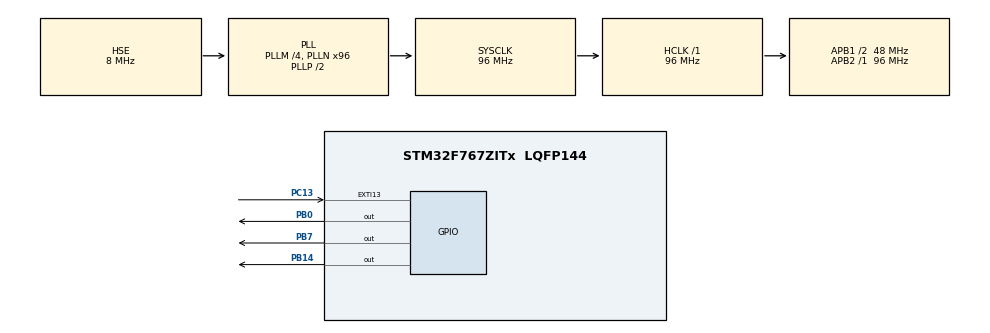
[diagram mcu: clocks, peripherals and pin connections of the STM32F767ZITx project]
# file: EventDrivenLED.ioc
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Mcu.Family=STM32F7
Mcu.Name=STM32F767ZITx
Mcu.Package=LQFP144
NVIC.EXTI15_10_IRQn=true\:0\:0\:false\:false\:true\:true\:true\:true
NVIC.PVD_IRQn=true\:0\:0\:false\:false\:true\:true\:true\:true
NVIC.PriorityGroup=NVIC_PRIORITYGROUP_4
NVIC.TIM2_IRQn=true\:0\:0\:false\:false\:true\:true\:true\:true
PB0.Signal=GPIO_Output
PB14.Signal=GPIO_Output
PB7.Signal=GPIO_Output
PC13.Signal=GPXTI13
PH0/OSC_IN.Mode=HSE-External-Oscillator
PH0/OSC_IN.Signal=RCC_OSC_IN
PH1/OSC_OUT.Mode=HSE-External-Oscillator
PH1/OSC_OUT.Signal=RCC_OSC_OUT
ProjectManager.HeapSize=0x200
ProjectManager.StackSize=0x400
ProjectManager.TargetToolchain=STM32CubeIDE
RCC.48MHZClocksFreq_Value=24000000
RCC.AHBFreq_Value=96000000
RCC.APB1CLKDivider=RCC_HCLK_DIV2
RCC.APB1Freq_Value=48000000
RCC.APB1TimFreq_Value=96000000
RCC.APB2Freq_Value=96000000
RCC.APB2TimFreq_Value=96000000
RCC.CortexFreq_Value=96000000
RCC.HCLKFreq_Value=96000000
RCC.HSE_VALUE=8000000
RCC.HSI_VALUE=16000000
RCC.PLLM=4
RCC.PLLMUL=RCC_PLL_MUL9
RCC.PLLN=96
RCC.PLLQ=4
RCC.PLLSourceVirtual=RCC_PLLSOURCE_HSE
RCC.PRESCALERUSB=RCC_USBCLKSOURCE_PLL_DIV1_5
RCC.SYSCLKFreq_VALUE=96000000
RCC.SYSCLKSource=RCC_SYSCLKSOURCE_PLLCLK
RCC.SYSCLKSourceVirtual=RCC_SYSCLKSOURCE_PLLCLK
RCC.USBFreq_Value=48000000
RCC.VCOOutputFreq_Value=192000000
TIM2.CounterMode=TIM_COUNTERMODE_UP
TIM2.Period=1000 - 1
TIM2.Prescaler=16000 - 1
VP_TIM2_VS_ClockSourceINT.Mode=Internal
board=NUCLEO-F767ZI

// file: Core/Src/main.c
/* USER CODE BEGIN Header */
/**
  ******************************************************************************
  * @file           : main.c
  * @brief          : Main program body
  ******************************************************************************
  * @attention
  *
  * Copyright (c) 2026 STMicroelectronics.
  * All rights reserved.
  *
  * This software is licensed under terms that can be found in the LICENSE file
  * in the root directory of this software component.
  * If no LICENSE file comes with this software, it is provided AS-IS.
  *
  ******************************************************************************
  */
/* USER CODE END Header */
#include "main.h"

TIM_HandleTypeDef htim2;

/* USER CODE BEGIN PV */
volatile uint8_t current_led = 0; // 0=Green, 1=Blue, 2=Red
/* USER CODE END PV */

void SystemClock_Config(void);
static void MX_GPIO_Init(void);
static void MX_TIM2_Init(void);

int main(void)
{

  /* MCU Configuration--------------------------------------------------------*/

  /* Reset of all peripherals, Initializes the Flash interface and the Systick. */
  HAL_Init();

  /* Configure the system clock */
  SystemClock_Config();

  /* Initialize all configured peripherals */
  MX_GPIO_Init();
  MX_TIM2_Init();
  /* USER CODE BEGIN 2 */
  HAL_TIM_Base_Start_IT(&htim2);
  /* USER CODE END 2 */

  /* Infinite loop */
  while (1)
  {

  }
}

void SystemClock_Config(void)
{
  RCC_OscInitTypeDef RCC_OscInitStruct = {0};
  RCC_ClkInitTypeDef RCC_ClkInitStruct = {0};

  /** Configure the main internal regulator output voltage
  */
  __HAL_RCC_PWR_CLK_ENABLE();
  __HAL_PWR_VOLTAGESCALING_CONFIG(PWR_REGULATOR_VOLTAGE_SCALE3);

  /** Initializes the RCC Oscillators according to the specified parameters
  * in the RCC_OscInitTypeDef structure.
  */
  RCC_OscInitStruct.OscillatorType = RCC_OSCILLATORTYPE_HSE;
  RCC_OscInitStruct.HSEState = RCC_HSE_ON;
  RCC_OscInitStruct.PLL.PLLState = RCC_PLL_ON;
  RCC_OscInitStruct.PLL.PLLSource = RCC_PLLSOURCE_HSE;
  RCC_OscInitStruct.PLL.PLLM = 4;
  RCC_OscInitStruct.PLL.PLLN = 96;
  RCC_OscInitStruct.PLL.PLLP = RCC_PLLP_DIV2;
  RCC_OscInitStruct.PLL.PLLQ = 4;
  RCC_OscInitStruct.PLL.PLLR = 2;
  if (HAL_RCC_OscConfig(&RCC_OscInitStruct) != HAL_OK)
  {
    Error_Handler();
  }

  /** Activate the Over-Drive mode
  */
  if (HAL_PWREx_EnableOverDrive() != HAL_OK)
  {
    Error_Handler();
  }

  /** Initializes the CPU, AHB and APB buses clocks
  */
  RCC_ClkInitStruct.ClockType = RCC_CLOCKTYPE_HCLK|RCC_CLOCKTYPE_SYSCLK
                              |RCC_CLOCKTYPE_PCLK1|RCC_CLOCKTYPE_PCLK2;
  RCC_ClkInitStruct.SYSCLKSource = RCC_SYSCLKSOURCE_PLLCLK;
  RCC_ClkInitStruct.AHBCLKDivider = RCC_SYSCLK_DIV1;
  RCC_ClkInitStruct.APB1CLKDivider = RCC_HCLK_DIV2;
  RCC_ClkInitStruct.APB2CLKDivider = RCC_HCLK_DIV1;

  if (HAL_RCC_ClockConfig(&RCC_ClkInitStruct, FLASH_LATENCY_3) != HAL_OK)
  {
    Error_Handler();
  }
}

static void MX_TIM2_Init(void)
{

  TIM_ClockConfigTypeDef sClockSourceConfig = {0};
  TIM_MasterConfigTypeDef sMasterConfig = {0};

  htim2.Instance = TIM2;
  htim2.Init.Prescaler = 16000 - 1;
  htim2.Init.CounterMode = TIM_COUNTERMODE_UP;
  htim2.Init.Period = 1000 - 1;
  htim2.Init.ClockDivision = TIM_CLOCKDIVISION_DIV1;
  htim2.Init.AutoReloadPreload = TIM_AUTORELOAD_PRELOAD_DISABLE;
  if (HAL_TIM_Base_Init(&htim2) != HAL_OK)
  {
    Error_Handler();
  }
  sClockSourceConfig.ClockSource = TIM_CLOCKSOURCE_INTERNAL;
  if (HAL_TIM_ConfigClockSource(&htim2, &sClockSourceConfig) != HAL_OK)
  {
    Error_Handler();
  }
  sMasterConfig.MasterOutputTrigger = TIM_TRGO_RESET;
  sMasterConfig.MasterSlaveMode = TIM_MASTERSLAVEMODE_DISABLE;
  if (HAL_TIMEx_MasterConfigSynchronization(&htim2, &sMasterConfig) != HAL_OK)
  {
    Error_Handler();
  }

}

static void MX_GPIO_Init(void)
{
  GPIO_InitTypeDef GPIO_InitStruct = {0};

  /* GPIO Ports Clock Enable */
  __HAL_RCC_GPIOC_CLK_ENABLE();
  __HAL_RCC_GPIOH_CLK_ENABLE();
  __HAL_RCC_GPIOB_CLK_ENABLE();

  /*Configure GPIO pin Output Level */
  HAL_GPIO_WritePin(GPIOB, GPIO_PIN_0|GPIO_PIN_14|GPIO_PIN_7, GPIO_PIN_RESET);

  /*Configure GPIO pin : PC13 */
  GPIO_InitStruct.Pin = GPIO_PIN_13;
  GPIO_InitStruct.Mode = GPIO_MODE_IT_RISING;
  GPIO_InitStruct.Pull = GPIO_NOPULL;
  HAL_GPIO_Init(GPIOC, &GPIO_InitStruct);

  /*Configure GPIO pins : PB0 PB14 PB7 */
  GPIO_InitStruct.Pin = GPIO_PIN_0|GPIO_PIN_14|GPIO_PIN_7;
  GPIO_InitStruct.Mode = GPIO_MODE_OUTPUT_PP;
  GPIO_InitStruct.Pull = GPIO_NOPULL;
  GPIO_InitStruct.Speed = GPIO_SPEED_FREQ_LOW;
  HAL_GPIO_Init(GPIOB, &GPIO_InitStruct);

  /* EXTI interrupt init*/
  HAL_NVIC_SetPriority(EXTI15_10_IRQn, 0, 0);
  HAL_NVIC_EnableIRQ(EXTI15_10_IRQn);

}

/* USER CODE BEGIN 4 */
//void HAL_TIM_PeriodElapsedCallback(TIM_HandleTypeDef *htim)
//{
//    if (htim->Instance == TIM2)
//    {
//        HAL_GPIO_TogglePin(GPIOB, GPIO_PIN_0); // Green
//    }
//}

void HAL_GPIO_EXTI_Callback(uint16_t GPIO_Pin)
{
	if (GPIO_Pin == GPIO_PIN_13)
	{
		current_led = (current_led + 1) % 3;
	}
}

void HAL_TIM_PeriodElapsedCallback(TIM_HandleTypeDef *htim)
{
	if (htim->Instance == TIM2)
	{
		HAL_GPIO_WritePin(GPIOB, GPIO_PIN_0, GPIO_PIN_RESET);
		HAL_GPIO_WritePin(GPIOB, GPIO_PIN_7, GPIO_PIN_RESET);
		HAL_GPIO_WritePin(GPIOB, GPIO_PIN_14, GPIO_PIN_RESET);

		if (current_led == 0)
			HAL_GPIO_TogglePin(GPIOB, GPIO_PIN_0); // Green
		else if (current_led == 1)
			HAL_GPIO_TogglePin(GPIOB, GPIO_PIN_7); // Blue
		else if (current_led == 2)
			HAL_GPIO_TogglePin(GPIOB, GPIO_PIN_14); // Red
	}
}
/* USER CODE END 4 */

void Error_Handler(void)
{
  __disable_irq();
  while (1)
  {
  }
}
